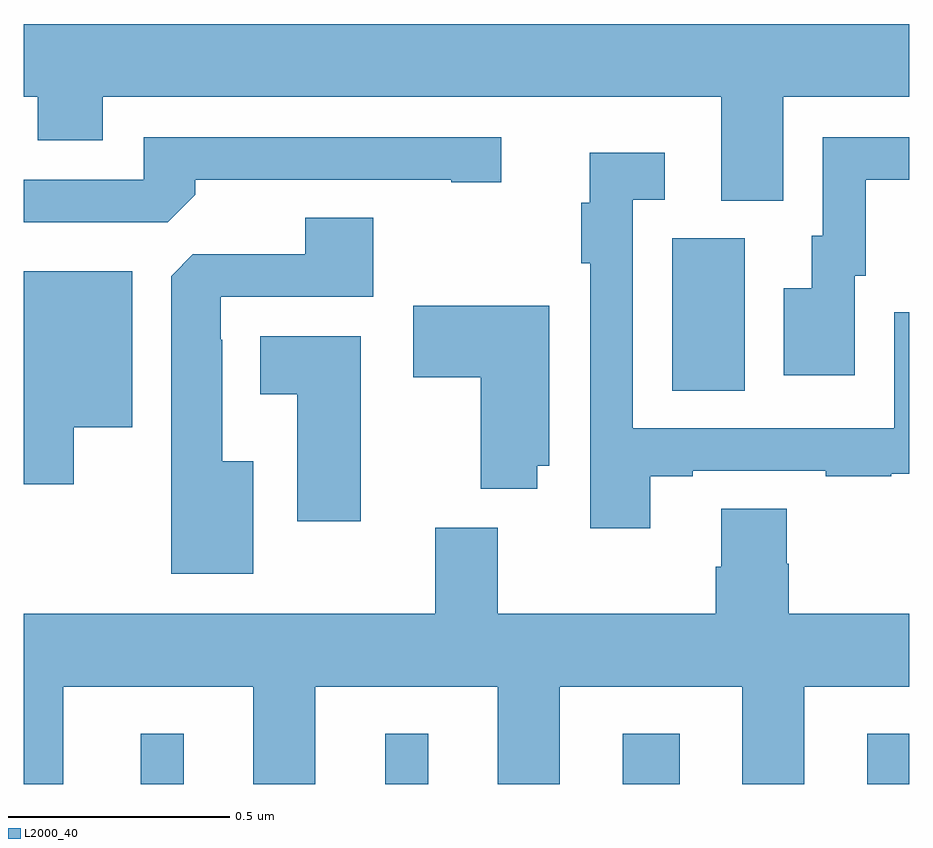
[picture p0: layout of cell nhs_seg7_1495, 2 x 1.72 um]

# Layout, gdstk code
import gdstk
lib = gdstk.Library(unit=1e-6, precision=1e-09)
def R(c, l, rs):  # rectangles x0, y0, x1, y1
    for r in rs: c.add(gdstk.rectangle(r[:2], r[2:], *l))
def P(c, l, *ps):  # polygons
    for p in ps: c.add(gdstk.Polygon(p, *l))
L2000_40 = (2000, 40)

nhs_seg7_1495 = lib.new_cell('nhs_seg7_1495')
R(nhs_seg7_1495, L2000_40, [(131.264,1063,131.362,1063.114), (131.816,1063,131.914,1063.114), (132.353,1063,132.481,1063.114), (132.905,1063,133,1063.114), (132.464,1063.888,132.628,1064.232)])
P(nhs_seg7_1495, L2000_40, [(132.715,1064.552),(133,1064.552),(133,1064.716),(131,1064.716),(131,1064.552),(131.032,1064.552),(131.032,1064.453),(131.179,1064.453),(131.179,1064.552),(132.575,1064.552),(132.575,1064.317),(132.715,1064.317)],
  [(132.877,1064.148),(132.901,1064.148),(132.901,1064.364),(133,1064.364),(133,1064.46),(132.804,1064.46),(132.804,1064.238),(132.779,1064.238),(132.779,1064.119),(132.716,1064.119),(132.716,1063.923),(132.877,1063.923)],
  [(131.387,1064.33),(131.387,1064.364),(131.966,1064.364),(131.966,1064.359),(132.079,1064.359),(132.079,1064.46),(131.271,1064.46),(131.271,1064.364),(131,1064.364),(131,1064.268),(131.325,1064.268)],
  [(132.415,1063.695),(132.511,1063.695),(132.511,1063.707),(132.811,1063.707),(132.811,1063.695),(132.959,1063.695),(132.959,1063.701),(133,1063.701),(133,1064.065),(132.966,1064.065),(132.966,1063.803),(132.375,1063.803),(132.375,1064.319),(132.448,1064.319),(132.448,1064.425),(132.278,1064.425),(132.278,1064.312),(132.259,1064.312),(132.259,1064.176),(132.279,1064.176),(132.279,1063.578),(132.415,1063.578)],
  [(131.518,1063.729),(131.449,1063.729),(131.449,1064.003),(131.445,1064.003),(131.445,1064.1),(131.789,1064.1),(131.789,1064.279),(131.636,1064.279),(131.636,1064.196),(131.382,1064.196),(131.333,1064.147),(131.333,1063.475),(131.518,1063.475)],
  [(131.113,1063.805),(131.245,1063.805),(131.245,1064.158),(131,1064.158),(131,1063.677),(131.113,1063.677)],
  [(132.16,1063.719),(132.187,1063.719),(132.187,1064.08),(131.88,1064.08),(131.88,1063.918),(132.032,1063.918),(132.032,1063.667),(132.16,1063.667)],
  [(131.761,1064.011),(131.534,1064.011),(131.534,1063.88),(131.618,1063.88),(131.618,1063.593),(131.761,1063.593)],
  [(131.089,1063.22),(131.519,1063.22),(131.519,1063),(131.659,1063),(131.659,1063.22),(132.071,1063.22),(132.071,1063),(132.211,1063),(132.211,1063.22),(132.623,1063.22),(132.623,1063),(132.763,1063),(132.763,1063.22),(133,1063.22),(133,1063.384),(132.728,1063.384),(132.728,1063.497),(132.723,1063.497),(132.723,1063.622),(132.575,1063.622),(132.575,1063.49),(132.563,1063.49),(132.563,1063.384),(132.07,1063.384),(132.07,1063.579),(131.93,1063.579),(131.93,1063.384),(131,1063.384),(131,1063),(131.089,1063)])

lib.write_gds('nhs_seg7_1495.gds')
